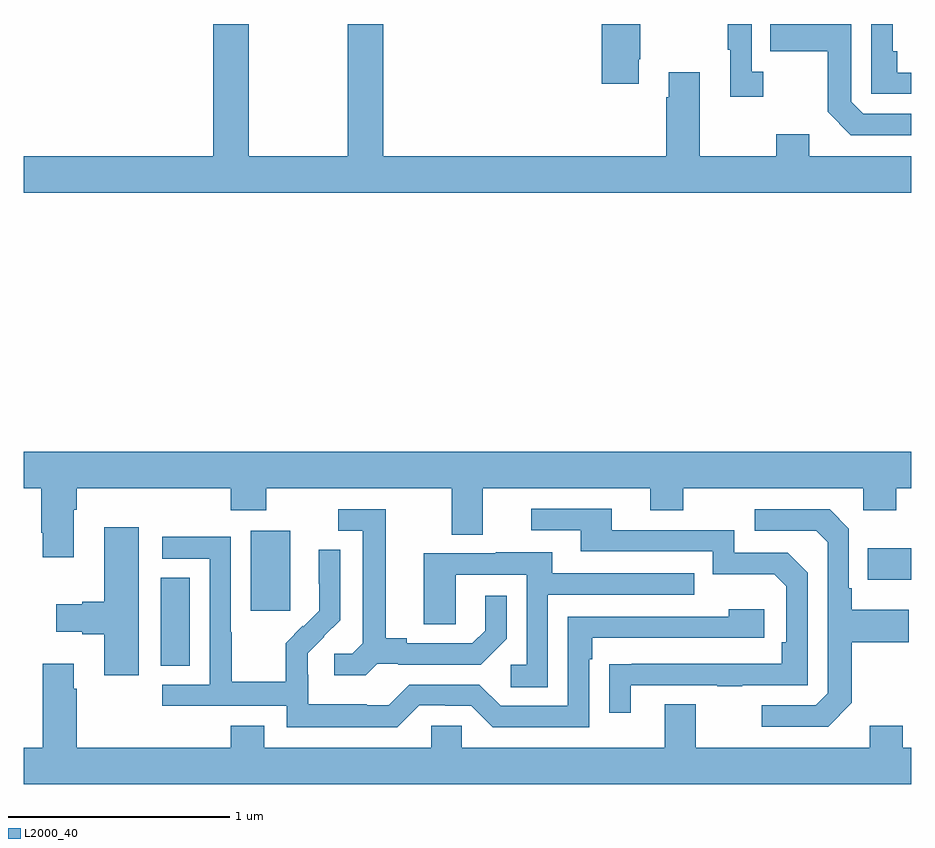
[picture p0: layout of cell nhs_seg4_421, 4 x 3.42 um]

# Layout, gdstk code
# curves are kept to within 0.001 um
import gdstk
lib = gdstk.Library(unit=1e-6, precision=1e-09)
def R(c, l, rs):  # rectangles x0, y0, x1, y1
    for r in rs: c.add(gdstk.rectangle(r[:2], r[2:], *l))
def P(c, l, *ps):  # polygons
    for p in ps: c.add(gdstk.Polygon(p, *l))
L2000_40 = (2000, 40)

nhs_seg4_421 = lib.new_cell('nhs_seg4_421')
R(nhs_seg4_421, L2000_40, [(131.618,808.009,131.749,808.406), (132.023,808.257,132.202,808.618), (134.803,808.397,135,808.537)])
P(nhs_seg4_421, L2000_40, [(135,810.304),(134.539,810.304),(134.539,810.403),(134.392,810.403),(134.392,810.304),(134.047,810.304),(134.047,810.682),(133.907,810.682),(133.907,810.569),(133.895,810.569),(133.895,810.304),(132.62,810.304),(132.62,810.9),(132.46,810.9),(132.46,810.304),(132.015,810.304),(132.015,810.9),(131.855,810.9),(131.855,810.304),(131,810.304),(131,810.14),(135,810.14)],
  [(135,810.495),(134.784,810.495),(134.73,810.549),(134.73,810.9),(134.365,810.9),(134.365,810.778),(134.622,810.778),(134.622,810.505),(134.727,810.399),(135,810.399)],
  [(135,810.681),(134.936,810.681),(134.936,810.778),(134.916,810.778),(134.916,810.9),(134.82,810.9),(134.82,810.585),(135,810.585)],
  [(134.332,810.686),(134.28,810.686),(134.28,810.9),(134.172,810.9),(134.172,810.785),(134.183,810.785),(134.183,810.573),(134.332,810.573)],
  [(133.771,810.742),(133.779,810.742),(133.779,810.9),(133.604,810.9),(133.604,810.63),(133.771,810.63)],
  [(131.227,808.712),(131.24,808.712),(131.24,808.808),(131.933,808.808),(131.933,808.709),(132.093,808.709),(132.093,808.808),(132.929,808.808),(132.929,808.6),(133.069,808.6),(133.069,808.808),(133.823,808.808),(133.823,808.709),(133.971,808.709),(133.971,808.808),(134.784,808.808),(134.784,808.709),(134.931,808.709),(134.931,808.808),(135,808.808),(135,808.972),(131,808.972),(131,808.808),(131.08,808.808),(131.08,808.609),(131.087,808.609),(131.087,808.497),(131.227,808.497)],
  [(133.735,807.921),(134.125,807.921),(134.125,807.916),(134.237,807.916),(134.237,807.921),(134.532,807.921),(134.532,808.428),(134.442,808.518),(134.202,808.518),(134.202,808.62),(133.651,808.62),(133.651,808.716),(133.287,808.716),(133.287,808.62),(133.511,808.62),(133.511,808.524),(134.106,808.524),(134.106,808.421),(134.383,808.421),(134.436,808.368),(134.436,808.114),(134.416,808.114),(134.416,808.017),(133.639,808.016),(133.639,807.798),(133.735,807.798)],
  [(134.731,807.841),(134.731,808.114),(134.987,808.114),(134.987,808.261),(134.731,808.261),(134.731,808.357),(134.718,808.357),(134.718,808.626),(134.631,808.713),(134.295,808.713),(134.295,808.617),(134.571,808.617),(134.622,808.566),(134.622,807.885),(134.568,807.831),(134.325,807.831),(134.325,807.735),(134.625,807.735)],
  [(132.594,808.017),(132.688,808.017),(132.688,808.014),(133.06,808.014),(133.176,808.13),(133.176,808.324),(133.079,808.324),(133.079,808.167),(133.022,808.11),(132.727,808.11),(132.727,808.133),(132.631,808.133),(132.631,808.713),(132.417,808.713),(132.417,808.617),(132.527,808.617),(132.527,808.109),(132.48,808.062),(132.399,808.062),(132.399,807.965),(132.542,807.965)],
  [(131.518,808.633),(131.363,808.633),(131.363,808.298),(131.264,808.298),(131.264,808.285),(131.148,808.285),(131.148,808.163),(131.264,808.163),(131.264,808.151),(131.363,808.151),(131.363,807.966),(131.518,807.966)],
  [(132.783,807.831),(132.899,807.831),(132.899,807.828),(133.017,807.828),(133.113,807.732),(133.548,807.732),(133.548,808.037),(133.561,808.037),(133.561,808.134),(134.338,808.134),(134.338,808.264),(134.177,808.264),(134.177,808.23),(133.452,808.23),(133.452,807.828),(133.149,807.828),(133.053,807.924),(132.738,807.924),(132.645,807.831),(132.545,807.831),(132.545,807.835),(132.282,807.835),(132.282,807.969),(132.28,807.969),(132.28,808.066),(132.426,808.214),(132.426,808.532),(132.33,808.532),(132.33,808.378),(132.332,808.378),(132.332,808.256),(132.261,808.185),(132.258,808.188),(132.181,808.111),(132.181,807.937),(131.937,807.937),(131.937,808.16),(131.934,808.16),(131.934,808.59),(131.625,808.59),(131.625,808.491),(131.838,808.491),(131.838,807.924),(131.625,807.924),(131.625,807.828),(132.186,807.828),(132.186,807.731),(132.683,807.731)],
  [(133.362,808.329),(134.021,808.329),(134.021,808.425),(133.381,808.425),(133.381,808.519),(133.127,808.519),(133.127,808.515),(132.803,808.515),(132.803,808.195),(132.948,808.195),(132.948,808.419),(133.266,808.419),(133.266,808.014),(133.194,808.014),(133.194,807.913),(133.362,807.913)],
  [(135,807.64),(134.961,807.64),(134.961,807.739),(134.813,807.739),(134.813,807.64),(134.029,807.64),(134.029,807.835),(133.889,807.835),(133.889,807.64),(132.975,807.64),(132.975,807.738),(132.837,807.738),(132.837,807.64),(132.085,807.64),(132.085,807.739),(131.933,807.739),(131.933,807.64),(131.24,807.64),(131.24,807.905),(131.227,807.905),(131.227,808.018),(131.087,808.018),(131.087,807.64),(131,807.64),(131,807.476),(135,807.476)])

lib.write_gds('nhs_seg4_421.gds')
